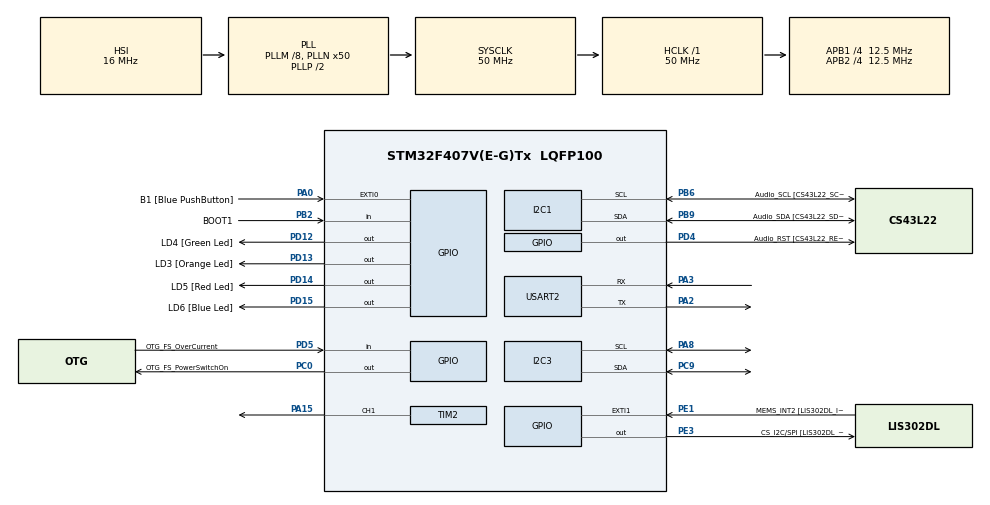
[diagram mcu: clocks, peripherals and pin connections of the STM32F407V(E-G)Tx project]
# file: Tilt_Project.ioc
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Mcu.Family=STM32F4
Mcu.Name=STM32F407V(E-G)Tx
Mcu.Package=LQFP100
NVIC.PriorityGroup=NVIC_PRIORITYGROUP_0
NVIC.TIM2_IRQn=true\:0\:0\:false\:false\:true\:true\:true\:true
NVIC.TIM6_DAC_IRQn=true\:0\:0\:false\:false\:true\:true\:true\:true
NVIC.TIM7_IRQn=true\:0\:0\:false\:false\:true\:true\:true\:true
NVIC.USART2_IRQn=true\:0\:0\:false\:false\:true\:true\:true\:true
PA0-WKUP.GPIO_Label=B1 [Blue PushButton]
PA0-WKUP.Signal=GPXTI0
PA10.GPIO_Label=OTG_FS_ID
PA10.GPIO_Mode=GPIO_MODE_AF_PP
PA10.GPIO_PuPd=GPIO_NOPULL
PA10.GPIO_Speed=GPIO_SPEED_FREQ_LOW
PA10.Signal=USB_OTG_FS_ID
PA11.GPIO_Label=OTG_FS_DM
PA11.GPIO_Mode=GPIO_MODE_AF_PP
PA11.GPIO_PuPd=GPIO_NOPULL
PA11.GPIO_Speed=GPIO_SPEED_FREQ_LOW
PA11.Signal=USB_OTG_FS_DM
PA12.GPIO_Label=OTG_FS_DP
PA12.GPIO_Mode=GPIO_MODE_AF_PP
PA12.GPIO_PuPd=GPIO_NOPULL
PA12.GPIO_Speed=GPIO_SPEED_FREQ_LOW
PA12.Signal=USB_OTG_FS_DP
PA13.GPIO_Label=SWDIO
PA13.Signal=SYS_JTMS-SWDIO
PA14.GPIO_Label=SWCLK
PA14.Signal=SYS_JTCK-SWCLK
PA15.Signal=S_TIM2_CH1_ETR
PA2.Mode=Asynchronous
PA2.Signal=USART2_TX
PA3.Mode=Asynchronous
PA3.Signal=USART2_RX
PA4.GPIO_Label=I2S3_WS [CS43L22_LRCK]
PA4.GPIO_Mode=GPIO_MODE_AF_PP
PA4.GPIO_PuPd=GPIO_NOPULL
PA4.GPIO_Speed=GPIO_SPEED_FREQ_LOW
PA4.Signal=I2S3_WS
PA5.GPIO_Label=SPI1_SCK [LIS302DL_SCL/SPC]
PA5.GPIO_Mode=GPIO_MODE_AF_PP
PA5.GPIO_PuPd=GPIO_NOPULL
PA5.GPIO_Speed=GPIO_SPEED_FREQ_LOW
PA5.Signal=SPI1_SCK
PA6.GPIO_Label=SPI1_MISO [LIS302DL_SDO]
PA6.GPIO_Mode=GPIO_MODE_AF_PP
PA6.GPIO_PuPd=GPIO_NOPULL
PA6.GPIO_Speed=GPIO_SPEED_FREQ_LOW
PA6.Signal=SPI1_MISO
PA7.GPIO_Label=SPI1_MOSI [LIS302DL_SDA/SDI/SDO]
PA7.GPIO_Mode=GPIO_MODE_AF_PP
PA7.GPIO_PuPd=GPIO_NOPULL
PA7.GPIO_Speed=GPIO_SPEED_FREQ_LOW
PA7.Signal=SPI1_MOSI
PA8.Mode=I2C
PA8.Signal=I2C3_SCL
PA9.GPIO_Label=VBUS_FS
PA9.GPIO_Mode=GPIO_MODE_INPUT
PA9.GPIO_PuPd=GPIO_NOPULL
PA9.Signal=USB_OTG_FS_VBUS
PB10.GPIO_Label=CLK_IN [MP45DT02_CLK]
PB10.GPIO_Mode=GPIO_MODE_AF_PP
PB10.GPIO_PuPd=GPIO_NOPULL
PB10.GPIO_Speed=GPIO_SPEED_FREQ_LOW
PB10.Signal=I2S2_CK
PB2.GPIO_Label=BOOT1
PB2.GPIO_Mode=GPIO_MODE_INPUT
PB2.GPIO_PuPd=GPIO_NOPULL
PB2.Signal=GPIO_Input
PB3.GPIO_Label=SWO
PB3.Signal=SYS_JTDO-SWO
PB6.GPIO_Label=Audio_SCL [CS43L22_SCL]
PB6.GPIO_Mode=GPIO_MODE_AF_OD
PB6.GPIO_PuPd=GPIO_NOPULL
PB6.GPIO_Speed=GPIO_SPEED_FREQ_LOW
PB6.Mode=I2C
PB6.Signal=I2C1_SCL
PB9.GPIO_Label=Audio_SDA [CS43L22_SDA]
PB9.GPIO_Mode=GPIO_MODE_AF_OD
PB9.GPIO_PuPd=GPIO_NOPULL
PB9.GPIO_Speed=GPIO_SPEED_FREQ_LOW
PB9.Mode=I2C
PB9.Signal=I2C1_SDA
PC0.GPIO_Label=OTG_FS_PowerSwitchOn
PC0.GPIO_PuPd=GPIO_NOPULL
PC0.GPIO_Speed=GPIO_SPEED_FREQ_LOW
PC0.PinState=GPIO_PIN_SET
PC0.Signal=GPIO_Output
PC10.GPIO_Label=I2S3_SCK [CS43L22_SCLK]
PC10.GPIO_Mode=GPIO_MODE_AF_PP
PC10.GPIO_PuPd=GPIO_NOPULL
PC10.GPIO_Speed=GPIO_SPEED_FREQ_LOW
PC10.Signal=I2S3_CK
PC12.GPIO_Label=I2S3_SD [CS43L22_SDIN]
PC12.GPIO_Mode=GPIO_MODE_AF_PP
PC12.GPIO_PuPd=GPIO_NOPULL
PC12.GPIO_Speed=GPIO_SPEED_FREQ_LOW
PC12.Signal=I2S3_SD
PC14-OSC32_IN.GPIO_Label=PC14-OSC32_IN
PC14-OSC32_IN.Signal=RCC_OSC32_IN
PC15-OSC32_OUT.GPIO_Label=PC15-OSC32_OUT
PC15-OSC32_OUT.Signal=RCC_OSC32_OUT
PC3.GPIO_Label=PDM_OUT [MP45DT02_DOUT]
PC3.GPIO_Mode=GPIO_MODE_AF_PP
PC3.GPIO_PuPd=GPIO_NOPULL
PC3.GPIO_Speed=GPIO_SPEED_FREQ_LOW
PC3.Signal=I2S2_SD
PC7.GPIO_Label=I2S3_MCK [CS43L22_MCLK]
PC7.GPIO_Mode=GPIO_MODE_AF_PP
PC7.GPIO_PuPd=GPIO_NOPULL
PC7.GPIO_Speed=GPIO_SPEED_FREQ_LOW
PC7.Signal=I2S3_MCK
PC9.Mode=I2C
PC9.Signal=I2C3_SDA
PD12.GPIO_Label=LD4 [Green Led]
PD12.GPIO_PuPd=GPIO_NOPULL
PD12.GPIO_Speed=GPIO_SPEED_FREQ_LOW
PD12.Signal=GPIO_Output
PD13.GPIO_Label=LD3 [Orange Led]
PD13.GPIO_PuPd=GPIO_NOPULL
PD13.GPIO_Speed=GPIO_SPEED_FREQ_LOW
PD13.Signal=GPIO_Output
PD14.GPIO_Label=LD5 [Red Led]
PD14.GPIO_PuPd=GPIO_NOPULL
PD14.GPIO_Speed=GPIO_SPEED_FREQ_LOW
PD14.Signal=GPIO_Output
PD15.GPIO_Label=LD6 [Blue Led]
PD15.GPIO_PuPd=GPIO_NOPULL
PD15.GPIO_Speed=GPIO_SPEED_FREQ_LOW
PD15.Signal=GPIO_Output
PD4.GPIO_Label=Audio_RST [CS43L22_RESET]
PD4.GPIO_PuPd=GPIO_NOPULL
PD4.GPIO_Speed=GPIO_SPEED_FREQ_LOW
PD4.Signal=GPIO_Output
PD5.GPIO_Label=OTG_FS_OverCurrent
PD5.GPIO_Mode=GPIO_MODE_INPUT
PD5.GPIO_PuPd=GPIO_NOPULL
PD5.Signal=GPIO_Input
PE1.GPIO_Label=MEMS_INT2 [LIS302DL_INT2]
PE1.GPIO_ModeDefaultEXTI=GPIO_MODE_EVT_RISING
PE1.GPIO_PuPd=GPIO_NOPULL
PE1.Signal=GPXTI1
PE3.GPIO_Label=CS_I2C/SPI [LIS302DL_CS_I2C/SPI]
PE3.GPIO_PuPd=GPIO_NOPULL
PE3.GPIO_Speed=GPIO_SPEED_FREQ_LOW
PE3.Signal=GPIO_Output
PH0-OSC_IN.GPIO_Label=PH0-OSC_IN
PH0-OSC_IN.Signal=RCC_OSC_IN
PH1-OSC_OUT.GPIO_Label=PH1-OSC_OUT
PH1-OSC_OUT.Signal=RCC_OSC_OUT
ProjectManager.HeapSize=0x200
ProjectManager.StackSize=0x400
ProjectManager.TargetToolchain=STM32CubeIDE
RCC.48MHZClocksFreq_Value=14285714.285714285
RCC.AHBFreq_Value=50000000
RCC.APB1CLKDivider=RCC_HCLK_DIV4
RCC.APB1Freq_Value=12500000
RCC.APB1TimFreq_Value=25000000
RCC.APB2CLKDivider=RCC_HCLK_DIV4
RCC.APB2Freq_Value=12500000
RCC.APB2TimFreq_Value=25000000
RCC.CortexFreq_Value=50000000
RCC.HCLKFreq_Value=50000000
RCC.HSE_VALUE=8000000
RCC.HSI_VALUE=16000000
RCC.LSE_VALUE=32768
RCC.PLLM=8
RCC.PLLN=50
RCC.PLLQ=7
RCC.SYSCLKFreq_VALUE=50000000
RCC.SYSCLKSource=RCC_SYSCLKSOURCE_PLLCLK
RCC.VCOOutputFreq_Value=100000000
SH.S_TIM2_CH1_ETR.0=TIM2_CH1,PWM Generation1 CH1
TIM2.Channel-PWM\ Generation1\ CH1=TIM_CHANNEL_1
TIM2.Period=499
TIM2.Prescaler=49
TIM2.Pulse-PWM\ Generation1\ CH1=50
TIM6.Period=249
TIM6.Prescaler=9999
TIM7.Prescaler=999
USART2.VirtualMode=VM_ASYNC
VP_TIM6_VS_ClockSourceINT.Mode=Enable_Timer
VP_TIM7_VS_ClockSourceINT.Mode=Enable_Timer
board=STM32F407G-DISC1

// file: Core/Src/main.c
/* USER CODE BEGIN Header */
/**
  ******************************************************************************
  * @file           : main.c
  * @brief          : Main program body
  ******************************************************************************
  * @attention
  *
  * Copyright (c) 2025 STMicroelectronics.
  * All rights reserved.
  *
  * This software is licensed under terms that can be found in the LICENSE file
  * in the root directory of this software component.
  * If no LICENSE file comes with this software, it is provided AS-IS.
  *
  ******************************************************************************
  */
/* USER CODE END Header */
#include "main.h"

/* USER CODE BEGIN Includes */
#include <string.h>
#include <stdio.h>
#include <math.h>
/* USER CODE END Includes */

/* USER CODE BEGIN PM */

#define	MPU6050_ADDR 		 0x68 << 1
#define WHO_AM_I_REG         0x75
#define PWR_MGMT_1_REG       0x6B
#define SMPLRT_DIV_REG       0x19
#define ACCEL_CONFIG_REG     0x1C
#define GYRO_CONFIG_REG      0x1B
#define ALPHA 				 0.95f
#define RAD_TO_DEG 			 57.2957795131f
#define SLAVE_ADDRESS_LCD 	0x04E

/* USER CODE END PM */

I2C_HandleTypeDef hi2c1;
I2C_HandleTypeDef hi2c3;

TIM_HandleTypeDef htim2;
TIM_HandleTypeDef htim6;
TIM_HandleTypeDef htim7;

UART_HandleTypeDef huart2;

/* USER CODE BEGIN PV */

uint8_t check;
uint8_t Data;
int16_t Accel_X_RAW, Accel_Y_RAW, Accel_Z_RAW;
float Ax, Ay, Az;
int16_t Gyro_X_RAW, Gyro_Y_RAW, Gyro_Z_RAW;
float Gx, Gy, Gz;

float Ax_filtered = 0.0f;
float Ay_filtered = 0.0f;
float Az_filtered = 0.0f;
float Gx_filtered = 0.0f;
float Gy_filtered = 0.0f;
float Gz_filtered = 0.0f;

float accel_bias_x = 0.0;
float accel_bias_y = 0.0;
float accel_bias_z = 0.0;

float gyro_bias_x = 0.0;
float gyro_bias_y = 0.0;
float gyro_bias_z = 0.0;

float pitch, roll;
float accel_pitch;
float accel_roll;

float Ax_corr;
float Ay_corr;
float Az_corr;

float Gx_corr;
float Gy_corr;
float Gz_corr;

uint32_t prev_time = 0;

uint32_t pulse_count = 0;
uint32_t desired_pulse;

const float dt = 0.1f;  // 100ms timer interval
//const float dt = 1;
float roll_reference;
float pitch_reference;
volatile uint8_t motor_busy = 0;

char numChar [20];
/* USER CODE END PV */

void SystemClock_Config(void);
static void MX_GPIO_Init(void);
static void MX_I2C1_Init(void);
static void MX_USART2_UART_Init(void);
static void MX_TIM2_Init(void);
static void MX_I2C3_Init(void);
static void MX_TIM6_Init(void);
static void MX_TIM7_Init(void);
/* USER CODE BEGIN PFP */

void MPU6050_Init(void);
void MPU6050_Read_Accel (void);
void MPU6050_Read_Gyro(void);
void MPU6050_Calculate_Bias(void);
void Update_IMU_Angles(void);
void stepper_move(float deg, float speed, uint8_t direction);
void move_delay(float deg,float speed,uint32_t pause);
void low_pass_filter(float Ax, float Ay, float Az, float Gx, float Gy, float Gz);

void lcd_send_cmd(char cmd);
void lcd_send_data(char data);
void lcd_init(void);
void lcd_send_string(char *str);
void lcd_put_cur(int row, int col);
/* USER CODE END PFP */

int main(void)
{

  /* MCU Configuration--------------------------------------------------------*/

  /* Reset of all peripherals, Initializes the Flash interface and the Systick. */
  HAL_Init();

  /* Configure the system clock */
  SystemClock_Config();

  /* Initialize all configured peripherals */
  MX_GPIO_Init();
  MX_I2C1_Init();
  MX_USART2_UART_Init();
  MX_TIM2_Init();
  MX_I2C3_Init();
  MX_TIM6_Init();
  MX_TIM7_Init();
  /* USER CODE BEGIN 2 */

  MPU6050_Init();
  MPU6050_Calculate_Bias();

  HAL_TIM_Base_Start_IT(&htim6);
  lcd_init();
  lcd_put_cur(0, 0);
  lcd_send_string("Pitch =");

  /* USER CODE END 2 */

  /* Infinite loop */
  /* USER CODE BEGIN WHILE */
  while (1)
  {

	  MPU6050_Read_Accel();
	  MPU6050_Read_Gyro();

	  Ax_corr = Ax - accel_bias_x;
	  Ay_corr = Ay - accel_bias_y;
	  Az_corr = Az - accel_bias_z;

	  Gx_corr = Gx - gyro_bias_x;
	  Gy_corr = Gy - gyro_bias_y;
	  Gz_corr = Gz - gyro_bias_z;

	  Update_IMU_Angles();

	  HAL_Delay(500);

	  lcd_put_cur(1,0);
	  sprintf(numChar,"%0.02f",accel_pitch);
	  lcd_send_string(numChar);
    /* USER CODE END WHILE */

  }
}

void SystemClock_Config(void)
{
  RCC_OscInitTypeDef RCC_OscInitStruct = {0};
  RCC_ClkInitTypeDef RCC_ClkInitStruct = {0};

  /** Configure the main internal regulator output voltage
  */
  __HAL_RCC_PWR_CLK_ENABLE();
  __HAL_PWR_VOLTAGESCALING_CONFIG(PWR_REGULATOR_VOLTAGE_SCALE1);

  /** Initializes the RCC Oscillators according to the specified parameters
  * in the RCC_OscInitTypeDef structure.
  */
  RCC_OscInitStruct.OscillatorType = RCC_OSCILLATORTYPE_HSI;
  RCC_OscInitStruct.HSIState = RCC_HSI_ON;
  RCC_OscInitStruct.HSICalibrationValue = RCC_HSICALIBRATION_DEFAULT;
  RCC_OscInitStruct.PLL.PLLState = RCC_PLL_ON;
  RCC_OscInitStruct.PLL.PLLSource = RCC_PLLSOURCE_HSI;
  RCC_OscInitStruct.PLL.PLLM = 8;
  RCC_OscInitStruct.PLL.PLLN = 50;
  RCC_OscInitStruct.PLL.PLLP = RCC_PLLP_DIV2;
  RCC_OscInitStruct.PLL.PLLQ = 7;
  if (HAL_RCC_OscConfig(&RCC_OscInitStruct) != HAL_OK)
  {
    Error_Handler();
  }

  /** Initializes the CPU, AHB and APB buses clocks
  */
  RCC_ClkInitStruct.ClockType = RCC_CLOCKTYPE_HCLK|RCC_CLOCKTYPE_SYSCLK
                              |RCC_CLOCKTYPE_PCLK1|RCC_CLOCKTYPE_PCLK2;
  RCC_ClkInitStruct.SYSCLKSource = RCC_SYSCLKSOURCE_PLLCLK;
  RCC_ClkInitStruct.AHBCLKDivider = RCC_SYSCLK_DIV1;
  RCC_ClkInitStruct.APB1CLKDivider = RCC_HCLK_DIV4;
  RCC_ClkInitStruct.APB2CLKDivider = RCC_HCLK_DIV4;

  if (HAL_RCC_ClockConfig(&RCC_ClkInitStruct, FLASH_LATENCY_1) != HAL_OK)
  {
    Error_Handler();
  }
}

static void MX_I2C1_Init(void)
{

  hi2c1.Instance = I2C1;
  hi2c1.Init.ClockSpeed = 100000;
  hi2c1.Init.DutyCycle = I2C_DUTYCYCLE_2;
  hi2c1.Init.OwnAddress1 = 0;
  hi2c1.Init.AddressingMode = I2C_ADDRESSINGMODE_7BIT;
  hi2c1.Init.DualAddressMode = I2C_DUALADDRESS_DISABLE;
  hi2c1.Init.OwnAddress2 = 0;
  hi2c1.Init.GeneralCallMode = I2C_GENERALCALL_DISABLE;
  hi2c1.Init.NoStretchMode = I2C_NOSTRETCH_DISABLE;
  if (HAL_I2C_Init(&hi2c1) != HAL_OK)
  {
    Error_Handler();
  }

}

static void MX_I2C3_Init(void)
{

  hi2c3.Instance = I2C3;
  hi2c3.Init.ClockSpeed = 100000;
  hi2c3.Init.DutyCycle = I2C_DUTYCYCLE_2;
  hi2c3.Init.OwnAddress1 = 0;
  hi2c3.Init.AddressingMode = I2C_ADDRESSINGMODE_7BIT;
  hi2c3.Init.DualAddressMode = I2C_DUALADDRESS_DISABLE;
  hi2c3.Init.OwnAddress2 = 0;
  hi2c3.Init.GeneralCallMode = I2C_GENERALCALL_DISABLE;
  hi2c3.Init.NoStretchMode = I2C_NOSTRETCH_DISABLE;
  if (HAL_I2C_Init(&hi2c3) != HAL_OK)
  {
    Error_Handler();
  }

}

static void MX_TIM2_Init(void)
{

  TIM_MasterConfigTypeDef sMasterConfig = {0};
  TIM_OC_InitTypeDef sConfigOC = {0};

  htim2.Instance = TIM2;
  htim2.Init.Prescaler = 49;
  htim2.Init.CounterMode = TIM_COUNTERMODE_UP;
  htim2.Init.Period = 499;
  htim2.Init.ClockDivision = TIM_CLOCKDIVISION_DIV1;
  htim2.Init.AutoReloadPreload = TIM_AUTORELOAD_PRELOAD_DISABLE;
  if (HAL_TIM_PWM_Init(&htim2) != HAL_OK)
  {
    Error_Handler();
  }
  sMasterConfig.MasterOutputTrigger = TIM_TRGO_RESET;
  sMasterConfig.MasterSlaveMode = TIM_MASTERSLAVEMODE_DISABLE;
  if (HAL_TIMEx_MasterConfigSynchronization(&htim2, &sMasterConfig) != HAL_OK)
  {
    Error_Handler();
  }
  sConfigOC.OCMode = TIM_OCMODE_PWM1;
  sConfigOC.Pulse = 50;
  sConfigOC.OCPolarity = TIM_OCPOLARITY_HIGH;
  sConfigOC.OCFastMode = TIM_OCFAST_DISABLE;
  if (HAL_TIM_PWM_ConfigChannel(&htim2, &sConfigOC, TIM_CHANNEL_1) != HAL_OK)
  {
    Error_Handler();
  }
  HAL_TIM_MspPostInit(&htim2);

}

static void MX_TIM6_Init(void)
{

  TIM_MasterConfigTypeDef sMasterConfig = {0};

  htim6.Instance = TIM6;
  htim6.Init.Prescaler = 9999;
  htim6.Init.CounterMode = TIM_COUNTERMODE_UP;
  htim6.Init.Period = 249;
  htim6.Init.AutoReloadPreload = TIM_AUTORELOAD_PRELOAD_DISABLE;
  if (HAL_TIM_Base_Init(&htim6) != HAL_OK)
  {
    Error_Handler();
  }
  sMasterConfig.MasterOutputTrigger = TIM_TRGO_RESET;
  sMasterConfig.MasterSlaveMode = TIM_MASTERSLAVEMODE_DISABLE;
  if (HAL_TIMEx_MasterConfigSynchronization(&htim6, &sMasterConfig) != HAL_OK)
  {
    Error_Handler();
  }

}

static void MX_TIM7_Init(void)
{

  TIM_MasterConfigTypeDef sMasterConfig = {0};

  htim7.Instance = TIM7;
  htim7.Init.Prescaler = 999;
  htim7.Init.CounterMode = TIM_COUNTERMODE_UP;
  htim7.Init.Period = 65535;
  htim7.Init.AutoReloadPreload = TIM_AUTORELOAD_PRELOAD_DISABLE;
  if (HAL_TIM_Base_Init(&htim7) != HAL_OK)
  {
    Error_Handler();
  }
  sMasterConfig.MasterOutputTrigger = TIM_TRGO_RESET;
  sMasterConfig.MasterSlaveMode = TIM_MASTERSLAVEMODE_DISABLE;
  if (HAL_TIMEx_MasterConfigSynchronization(&htim7, &sMasterConfig) != HAL_OK)
  {
    Error_Handler();
  }

}

static void MX_USART2_UART_Init(void)
{

  huart2.Instance = USART2;
  huart2.Init.BaudRate = 115200;
  huart2.Init.WordLength = UART_WORDLENGTH_8B;
  huart2.Init.StopBits = UART_STOPBITS_1;
  huart2.Init.Parity = UART_PARITY_NONE;
  huart2.Init.Mode = UART_MODE_TX_RX;
  huart2.Init.HwFlowCtl = UART_HWCONTROL_NONE;
  huart2.Init.OverSampling = UART_OVERSAMPLING_16;
  if (HAL_UART_Init(&huart2) != HAL_OK)
  {
    Error_Handler();
  }

}

static void MX_GPIO_Init(void)
{
  GPIO_InitTypeDef GPIO_InitStruct = {0};

  /* GPIO Ports Clock Enable */
  __HAL_RCC_GPIOE_CLK_ENABLE();
  __HAL_RCC_GPIOC_CLK_ENABLE();
  __HAL_RCC_GPIOH_CLK_ENABLE();
  __HAL_RCC_GPIOA_CLK_ENABLE();
  __HAL_RCC_GPIOB_CLK_ENABLE();
  __HAL_RCC_GPIOD_CLK_ENABLE();

  /*Configure GPIO pin Output Level */
  HAL_GPIO_WritePin(CS_I2C_SPI_GPIO_Port, CS_I2C_SPI_Pin, GPIO_PIN_RESET);

  /*Configure GPIO pin Output Level */
  HAL_GPIO_WritePin(OTG_FS_PowerSwitchOn_GPIO_Port, OTG_FS_PowerSwitchOn_Pin, GPIO_PIN_SET);

  /*Configure GPIO pin Output Level */
  HAL_GPIO_WritePin(GPIOD, LD4_Pin|LD3_Pin|LD5_Pin|LD6_Pin
                          |Audio_RST_Pin, GPIO_PIN_RESET);

  /*Configure GPIO pin : CS_I2C_SPI_Pin */
  GPIO_InitStruct.Pin = CS_I2C_SPI_Pin;
  GPIO_InitStruct.Mode = GPIO_MODE_OUTPUT_PP;
  GPIO_InitStruct.Pull = GPIO_NOPULL;
  GPIO_InitStruct.Speed = GPIO_SPEED_FREQ_LOW;
  HAL_GPIO_Init(CS_I2C_SPI_GPIO_Port, &GPIO_InitStruct);

  /*Configure GPIO pin : OTG_FS_PowerSwitchOn_Pin */
  GPIO_InitStruct.Pin = OTG_FS_PowerSwitchOn_Pin;
  GPIO_InitStruct.Mode = GPIO_MODE_OUTPUT_PP;
  GPIO_InitStruct.Pull = GPIO_NOPULL;
  GPIO_InitStruct.Speed = GPIO_SPEED_FREQ_LOW;
  HAL_GPIO_Init(OTG_FS_PowerSwitchOn_GPIO_Port, &GPIO_InitStruct);

  /*Configure GPIO pin : PDM_OUT_Pin */
  GPIO_InitStruct.Pin = PDM_OUT_Pin;
  GPIO_InitStruct.Mode = GPIO_MODE_AF_PP;
  GPIO_InitStruct.Pull = GPIO_NOPULL;
  GPIO_InitStruct.Speed = GPIO_SPEED_FREQ_LOW;
  GPIO_InitStruct.Alternate = GPIO_AF5_SPI2;
  HAL_GPIO_Init(PDM_OUT_GPIO_Port, &GPIO_InitStruct);

  /*Configure GPIO pin : B1_Pin */
  GPIO_InitStruct.Pin = B1_Pin;
  GPIO_InitStruct.Mode = GPIO_MODE_IT_RISING;
  GPIO_InitStruct.Pull = GPIO_NOPULL;
  HAL_GPIO_Init(B1_GPIO_Port, &GPIO_InitStruct);

  /*Configure GPIO pin : I2S3_WS_Pin */
  GPIO_InitStruct.Pin = I2S3_WS_Pin;
  GPIO_InitStruct.Mode = GPIO_MODE_AF_PP;
  GPIO_InitStruct.Pull = GPIO_NOPULL;
  GPIO_InitStruct.Speed = GPIO_SPEED_FREQ_LOW;
  GPIO_InitStruct.Alternate = GPIO_AF6_SPI3;
  HAL_GPIO_Init(I2S3_WS_GPIO_Port, &GPIO_InitStruct);

  /*Configure GPIO pins : SPI1_SCK_Pin SPI1_MISO_Pin SPI1_MOSI_Pin */
  GPIO_InitStruct.Pin = SPI1_SCK_Pin|SPI1_MISO_Pin|SPI1_MOSI_Pin;
  GPIO_InitStruct.Mode = GPIO_MODE_AF_PP;
  GPIO_InitStruct.Pull = GPIO_NOPULL;
  GPIO_InitStruct.Speed = GPIO_SPEED_FREQ_LOW;
  GPIO_InitStruct.Alternate = GPIO_AF5_SPI1;
  HAL_GPIO_Init(GPIOA, &GPIO_InitStruct);

  /*Configure GPIO pin : BOOT1_Pin */
  GPIO_InitStruct.Pin = BOOT1_Pin;
  GPIO_InitStruct.Mode = GPIO_MODE_INPUT;
  GPIO_InitStruct.Pull = GPIO_NOPULL;
  HAL_GPIO_Init(BOOT1_GPIO_Port, &GPIO_InitStruct);

  /*Configure GPIO pin : CLK_IN_Pin */
  GPIO_InitStruct.Pin = CLK_IN_Pin;
  GPIO_InitStruct.Mode = GPIO_MODE_AF_PP;
  GPIO_InitStruct.Pull = GPIO_NOPULL;
  GPIO_InitStruct.Speed = GPIO_SPEED_FREQ_LOW;
  GPIO_InitStruct.Alternate = GPIO_AF5_SPI2;
  HAL_GPIO_Init(CLK_IN_GPIO_Port, &GPIO_InitStruct);

  /*Configure GPIO pins : LD4_Pin LD3_Pin LD5_Pin LD6_Pin
                           Audio_RST_Pin */
  GPIO_InitStruct.Pin = LD4_Pin|LD3_Pin|LD5_Pin|LD6_Pin
                          |Audio_RST_Pin;
  GPIO_InitStruct.Mode = GPIO_MODE_OUTPUT_PP;
  GPIO_InitStruct.Pull = GPIO_NOPULL;
  GPIO_InitStruct.Speed = GPIO_SPEED_FREQ_LOW;
  HAL_GPIO_Init(GPIOD, &GPIO_InitStruct);

  /*Configure GPIO pins : I2S3_MCK_Pin I2S3_SCK_Pin I2S3_SD_Pin */
  GPIO_InitStruct.Pin = I2S3_MCK_Pin|I2S3_SCK_Pin|I2S3_SD_Pin;
  GPIO_InitStruct.Mode = GPIO_MODE_AF_PP;
  GPIO_InitStruct.Pull = GPIO_NOPULL;
  GPIO_InitStruct.Speed = GPIO_SPEED_FREQ_LOW;
  GPIO_InitStruct.Alternate = GPIO_AF6_SPI3;
  HAL_GPIO_Init(GPIOC, &GPIO_InitStruct);

  /*Configure GPIO pin : VBUS_FS_Pin */
  GPIO_InitStruct.Pin = VBUS_FS_Pin;
  GPIO_InitStruct.Mode = GPIO_MODE_INPUT;
  GPIO_InitStruct.Pull = GPIO_NOPULL;
  HAL_GPIO_Init(VBUS_FS_GPIO_Port, &GPIO_InitStruct);

  /*Configure GPIO pins : OTG_FS_ID_Pin OTG_FS_DM_Pin OTG_FS_DP_Pin */
  GPIO_InitStruct.Pin = OTG_FS_ID_Pin|OTG_FS_DM_Pin|OTG_FS_DP_Pin;
  GPIO_InitStruct.Mode = GPIO_MODE_AF_PP;
  GPIO_InitStruct.Pull = GPIO_NOPULL;
  GPIO_InitStruct.Speed = GPIO_SPEED_FREQ_LOW;
  GPIO_InitStruct.Alternate = GPIO_AF10_OTG_FS;
  HAL_GPIO_Init(GPIOA, &GPIO_InitStruct);

  /*Configure GPIO pin : OTG_FS_OverCurrent_Pin */
  GPIO_InitStruct.Pin = OTG_FS_OverCurrent_Pin;
  GPIO_InitStruct.Mode = GPIO_MODE_INPUT;
  GPIO_InitStruct.Pull = GPIO_NOPULL;
  HAL_GPIO_Init(OTG_FS_OverCurrent_GPIO_Port, &GPIO_InitStruct);

  /*Configure GPIO pin : MEMS_INT2_Pin */
  GPIO_InitStruct.Pin = MEMS_INT2_Pin;
  GPIO_InitStruct.Mode = GPIO_MODE_EVT_RISING;
  GPIO_InitStruct.Pull = GPIO_NOPULL;
  HAL_GPIO_Init(MEMS_INT2_GPIO_Port, &GPIO_InitStruct);

}

/* USER CODE BEGIN 4 */
void HAL_TIM_PWM_PulseFinishedCallback(TIM_HandleTypeDef *htim)
{
	if(htim == &htim2)
	{
		pulse_count++;
		if(pulse_count >= desired_pulse)
		{
			HAL_TIM_PWM_Stop_IT(&htim2, TIM_CHANNEL_1);
			pulse_count = 0;
			motor_busy = 0;   // Motor finished
		}
	}
}
void HAL_TIM_PeriodElapsedCallback(TIM_HandleTypeDef *htim)
{
    if (htim->Instance == TIM6)
        {
			Update_IMU_Angles();

			pitch = accel_pitch;

			static uint8_t first_time = 1;
			static float last_error = 0.0f;

			if (first_time)
			{
				pitch_reference = pitch;
				first_time = 0;
			}

			//pitch_reference = 5;
			float error = pitch_reference - pitch;
			float derivative = (error - last_error) / dt;
			last_error = error;  // Update for next time

			float deg = fabsf(error);
			//uint8_t direction = (error > 0) ? 0 : 1;
			uint8_t direction = (error > 0) ? 1 : 0;

			// Controller gains
			float Kp = 1.0f;
			float Kd = 0.01f;

			float speed = (Kp * deg) + (Kd * fabsf(derivative));
			//float speed = Kp * deg;

			// Clamp speed
			/*if (speed > 80.0f) speed = 80.0f;
			if (speed < 30.0f) speed = 30.0f;*/

			if (deg > 7.f && motor_busy == 0)  // Only move if motor is free
			{
				stepper_move(deg, speed, direction);
				//stepper_move(10, 100, 0);
				//move_delay(deg, speed, 0);
				motor_busy = 1;   // Motor is now busy
			}
			//else if (deg < 7.0f) { motor_busy = 0; }
		    printf("accel_pitch=%.2fg accel_roll=%.2fg\r\n", accel_pitch,accel_roll);
		    printf("Pitch=%.2f, Roll=%.2f\r\n", pitch, roll);
        }

}

void MPU6050_Init (void)
{
  uint8_t check;
  uint8_t Data;

  HAL_I2C_Mem_Read (&hi2c1, MPU6050_ADDR, 0x75, 1, &check, 1, 1000);  // read WHO_AM_I

  if (check == 0x68)  // 0x68 will be returned by the sensor if everything goes well
  {
	  // Wake up MPU6050 (clear sleep bit)
	  Data = 0;
	  HAL_I2C_Mem_Write(&hi2c1, MPU6050_ADDR, 0x6B, 1, &Data, 1, 1000);

	  // Set sample rate divider to 7 → Sample Rate = Gyroscope Output Rate / (1 + SMPLRT_DIV)
	  Data = 0x07;
	  HAL_I2C_Mem_Write(&hi2c1, MPU6050_ADDR, 0x19, 1, &Data, 1, 1000);

	  // Set accelerometer config → ±2g (FS_SEL = 0)
	  Data = 0x00;  // XA_ST=0,YA_ST=0,ZA_ST=0, FS_SEL=0 -> ± 2g
	  HAL_I2C_Mem_Write(&hi2c1, MPU6050_ADDR, ACCEL_CONFIG_REG, 1, &Data, 1, 1000);

	  // Set Gyroscopic configuration in GYRO_CONFIG Register
	  Data = 0x00;  // XG_ST=0,YG_ST=0,ZG_ST=0, FS_SEL=0 -> ± 250 �?/s
	  HAL_I2C_Mem_Write(&hi2c1, MPU6050_ADDR, GYRO_CONFIG_REG, 1, &Data, 1, 1000);
  }
 }

void MPU6050_Read_Accel (void)
{
	uint8_t Rec_Data[6];

	// Read 6 BYTES of data starting from ACCEL_XOUT_H (0x3B) register
	HAL_I2C_Mem_Read (&hi2c1, MPU6050_ADDR, 0x3B, 1, Rec_Data, 6, 1000);

	// Combine high and low bytes for each axis
	Accel_X_RAW = (int16_t)(Rec_Data[0] << 8 | Rec_Data [1]);
	Accel_Y_RAW = (int16_t)(Rec_Data[2] << 8 | Rec_Data [3]);
	Accel_Z_RAW = (int16_t)(Rec_Data[4] << 8 | Rec_Data [5]);

	// Convert raw values to 'g' units (±2g range → 16384 LSB/g)
	Ax = (float)Accel_X_RAW/16384.0;
	Ay = (float)Accel_Y_RAW/16384.0;
	Az = (float)Accel_Z_RAW/16384.0;
}

void MPU6050_Read_Gyro (void)
{
	uint8_t Rec_Data[6];

	// Read 6 BYTES of data starting from GYRO_XOUT_H register
	HAL_I2C_Mem_Read (&hi2c1, MPU6050_ADDR, 0x43, 1, Rec_Data, 6, 1000);

	Gyro_X_RAW = (int16_t)(Rec_Data[0] << 8 | Rec_Data [1]);
	Gyro_Y_RAW = (int16_t)(Rec_Data[2] << 8 | Rec_Data [3]);
	Gyro_Z_RAW = (int16_t)(Rec_Data[4] << 8 | Rec_Data [5]);

	Gx = (float)Gyro_X_RAW/131.0;
	Gy = (float)Gyro_Y_RAW/131.0;
	Gz = (float)Gyro_Z_RAW/131.0;
}

void MPU6050_Calculate_Bias(void)
{

    for (int i = 0; i < 100; i++) {
        MPU6050_Read_Accel();
        MPU6050_Read_Gyro();

        accel_bias_x += Ax;
        accel_bias_y += Ay;
        accel_bias_z += Az;

        gyro_bias_x += Gx;
        gyro_bias_y += Gy;
        gyro_bias_z += Gz;

        HAL_Delay(10); // Wait 10ms between readings
    }

	  accel_bias_x /= 100.0;
	  accel_bias_y /= 100.0;
	  accel_bias_z /= 100.0;

	  gyro_bias_x /= 100.0;
	  gyro_bias_y /= 100.0;
	  gyro_bias_z /= 100.0;

    // Remove 1g gravity from Z-axis (Adjust Z-axis for gravity (if upright))
    accel_bias_z = (accel_bias_z > 0) ? (accel_bias_z - 1.0f) : (accel_bias_z + 1.0f);
}
void Update_IMU_Angles(void)
{
    // Time delta
    uint32_t curr_time = HAL_GetTick(); // in ms
    float dt_imu = (curr_time - prev_time) / 1000.0f;
    prev_time = curr_time;

    // Get Accelerometer angles (in degrees)
    /*float accel_pitch = atan2f(Ay_corr, sqrtf(Ax_corr * Ax_corr + Az_corr * Az_corr)) * RAD_TO_DEG;
    float accel_roll  = atan2f(-Ax_corr, Az_corr) * RAD_TO_DEG;*/

    accel_pitch = atan2(-Ax_corr, sqrt(Ay_corr*Ay_corr + Az_corr*Az_corr)) * RAD_TO_DEG;
    accel_roll = atan2(Ay_corr, sqrt(Ax_corr*Ax_corr + Az_corr*Az_corr))* RAD_TO_DEG;

    // Complementary filter
    pitch = ALPHA * (pitch + Gy_corr * dt_imu) + (1.0f - ALPHA) * accel_pitch;
    roll  = ALPHA * (roll  + Gx_corr * dt_imu) + (1.0f - ALPHA) * accel_roll;

    // Optional: print or send the values
}
void stepper_move(float deg,float speed, uint8_t direction)
{
	// Set direction for the stepper motor
	HAL_GPIO_WritePin(GPIOD, GPIO_PIN_15, (0X1 & direction));

	// Calculate the Auto Reload Register (ARR) value based on the speed and stepper resolution
	uint32_t ARR = (uint32_t)((float)(360*250000/(1600*speed))-1);

	// Calculate desired pulse count based on degrees
	desired_pulse = (uint32_t)((deg/360)*1600);

	htim2.Init.Period = ARR;
	HAL_TIM_PWM_Init(&htim2);

	HAL_TIM_PWM_Start_IT(&htim2, TIM_CHANNEL_1);
}
void move_delay(float deg,float speed,uint32_t pause)
{
	 HAL_Delay((uint32_t)((float)1000*deg/speed) + pause);
}
void lcd_send_cmd(char cmd)
{
	char data_u, data_l;
	data_u = (cmd & 0xf0);
	data_l = ((cmd << 4) & 0xf0);

	uint8_t data_t[4];
	data_t[0] = data_u | 0x0C;
	data_t[1] = data_u | 0x08;
	data_t[2] = data_l | 0x0C;
	data_t[3] = data_l | 0x08;

	HAL_I2C_Master_Transmit(&hi2c3, SLAVE_ADDRESS_LCD, (uint8_t*) data_t, 4, 100);
}
void lcd_send_data(char data)
{
	char data_u, data_l;
	uint8_t data_t[4];

	data_u = (data & 0xf0);
	data_l = ((data << 4) & 0xf0);

	data_t[0] = data_u | 0x0D;
	data_t[1] = data_u | 0x09;
	data_t[2] = data_l | 0x0D;
	data_t[3] = data_l | 0x09;

	HAL_I2C_Master_Transmit(&hi2c3, SLAVE_ADDRESS_LCD, (uint8_t*) data_t, 4, 100);
}
void lcd_init(void)
{
	HAL_Delay(50);
	lcd_send_cmd(0x30);
	HAL_Delay(5);
	lcd_send_cmd(0x30);
	HAL_Delay(5);
	lcd_send_cmd(0x30);
	HAL_Delay(10);
	lcd_send_cmd(0x20);
	HAL_Delay(10);

	lcd_send_cmd(0x28);
	HAL_Delay(5);
	lcd_send_cmd(0x08);
	HAL_Delay(5);
	lcd_send_cmd(0x01);
	HAL_Delay(5);
	lcd_send_cmd(0x06);
	HAL_Delay(5);

	lcd_send_cmd(0x0C);
	HAL_Delay(5);
}
void lcd_send_string(char *str)
{
	while(*str)
	{
		lcd_send_data(*str);
		HAL_Delay(1);
		str++;
	}
}
void lcd_put_cur(int row, int col)
{
	switch (row)
	{
		case 0:
			col |= 0x80;
			break;
		case 1:
			col |= 0xC0;
			break;
	}
		lcd_send_cmd(col);
}
int __io_putchar(int ch)
{
	HAL_UART_Transmit(&huart2,(uint8_t*)&ch , 1, 0xFFFF);
	return ch;
}

/* USER CODE END 4 */

void Error_Handler(void)
{
  __disable_irq();
  while (1)
  {
  }
}
